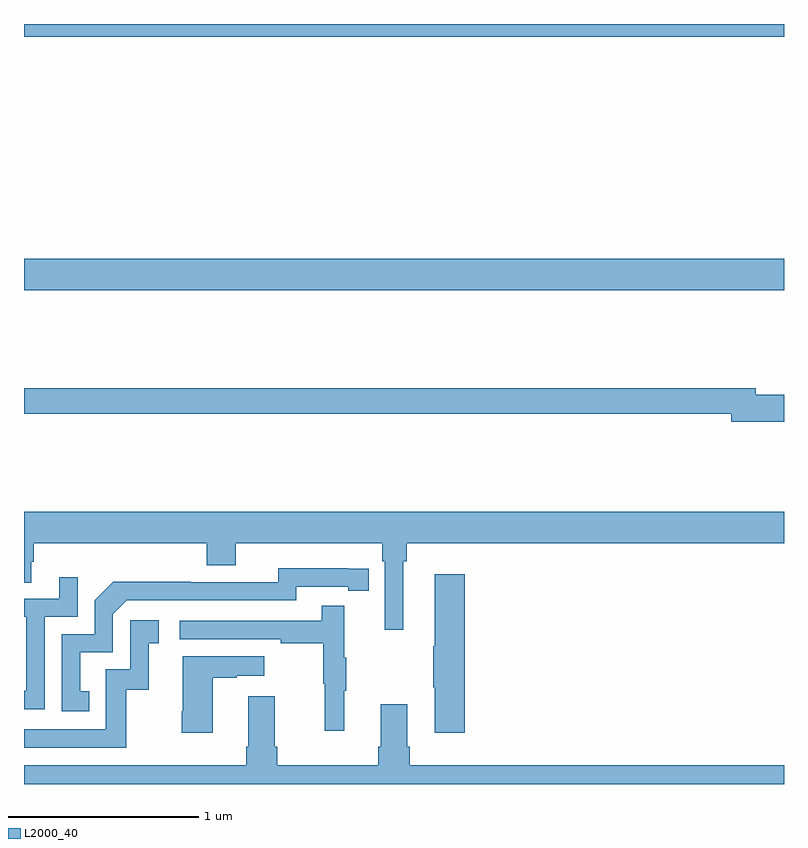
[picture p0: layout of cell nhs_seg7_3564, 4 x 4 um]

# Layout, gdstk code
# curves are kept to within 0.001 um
import gdstk
lib = gdstk.Library(unit=1e-6, precision=1e-09)
def R(c, l, rs):  # rectangles x0, y0, x1, y1
    for r in rs: c.add(gdstk.rectangle(r[:2], r[2:], *l))
def P(c, l, *ps):  # polygons
    for p in ps: c.add(gdstk.Polygon(p, *l))
L2000_40 = (2000, 40)

nhs_seg7_3564 = lib.new_cell('nhs_seg7_3564')
R(nhs_seg7_3564, L2000_40, [(339,1016.6,343,1016.764), (339,1017.932,343,1018)])
P(nhs_seg7_3564, L2000_40, [(343,1016.048),(342.85,1016.048),(342.85,1016.084),(339,1016.084),(339,1015.948),(342.722,1015.948),(342.722,1015.906),(343,1015.906)],
  [(340.996,1015.172),(341.015,1015.172),(341.015,1015.268),(343,1015.268),(343,1015.432),(339,1015.432),(339,1015.06),(339.037,1015.06),(339.037,1015.17),(339.05,1015.17),(339.05,1015.268),(339.962,1015.268),(339.962,1015.151),(340.114,1015.151),(340.114,1015.268),(340.886,1015.268),(340.886,1015.172),(340.899,1015.172),(340.899,1014.813),(340.996,1014.813)],
  [(339.344,1014.489),(339.295,1014.489),(339.295,1014.693),(339.468,1014.693),(339.468,1014.894),(339.54,1014.966),(340.434,1014.966),(340.434,1015.038),(340.706,1015.038),(340.706,1015.018),(340.814,1015.018),(340.814,1015.134),(340.338,1015.135),(340.338,1015.062),(339.878,1015.062),(339.878,1015.064),(339.47,1015.064),(339.372,1014.966),(339.372,1014.789),(339.198,1014.789),(339.198,1014.384),(339.344,1014.384)],
  [(341.321,1015.105),(341.162,1015.105),(341.162,1014.725),(341.155,1014.725),(341.155,1014.508),(341.162,1014.508),(341.162,1014.27),(341.321,1014.27)],
  [(339.108,1014.879),(339.282,1014.879),(339.282,1015.087),(339.185,1015.087),(339.185,1014.975),(339,1014.975),(339,1014.879),(339.012,1014.879),(339.012,1014.49),(339,1014.49),(339,1014.393),(339.108,1014.393)],
  [(340.685,1014.491),(340.696,1014.491),(340.696,1014.665),(340.685,1014.665),(340.685,1014.937),(340.567,1014.937),(340.567,1014.858),(339.819,1014.858),(339.819,1014.762),(340.351,1014.762),(340.351,1014.742),(340.575,1014.742),(340.575,1014.528),(340.582,1014.528),(340.582,1014.279),(340.685,1014.279)],
  [(339.538,1014.495),(339.656,1014.495),(339.656,1014.741),(339.709,1014.741),(339.709,1014.862),(339.558,1014.862),(339.558,1014.603),(339.429,1014.603),(339.429,1014.288),(339,1014.288),(339,1014.192),(339.538,1014.192)],
  [(339.994,1014.559),(340.121,1014.559),(340.121,1014.569),(340.264,1014.569),(340.264,1014.673),(339.836,1014.673),(339.836,1014.382),(339.829,1014.382),(339.829,1014.27),(339.994,1014.27)],
  [(343,1014.1),(341.03,1014.1),(341.03,1014.196),(341.017,1014.196),(341.017,1014.421),(340.877,1014.421),(340.877,1014.196),(340.865,1014.196),(340.865,1014.1),(340.334,1014.1),(340.334,1014.196),(340.321,1014.196),(340.321,1014.463),(340.181,1014.463),(340.181,1014.196),(340.169,1014.196),(340.169,1014.1),(339,1014.1),(339,1014),(343,1014)])

lib.write_gds('nhs_seg7_3564.gds')
